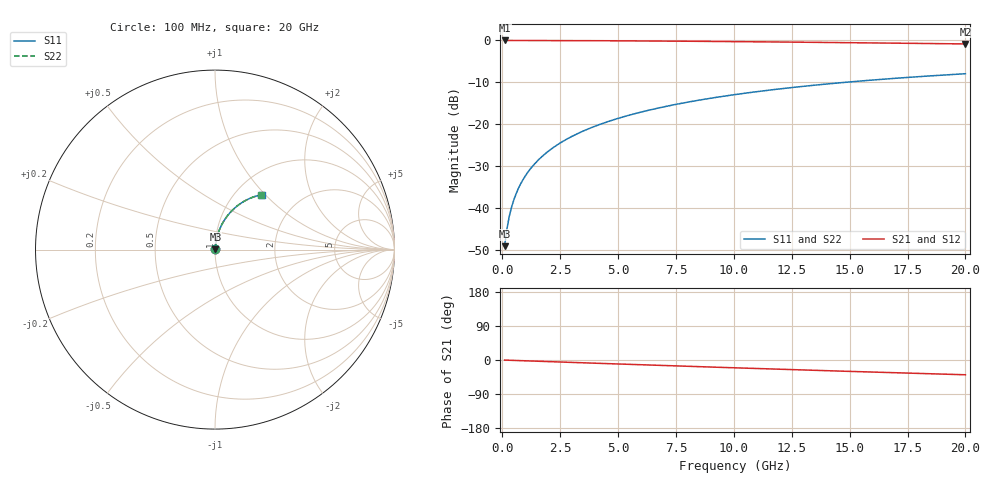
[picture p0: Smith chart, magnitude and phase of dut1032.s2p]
! Touchstone file exported from HFSS 2026.1.0
!  File:  C:/ffzhzh/LocalFiles/Ansys_Project_Files/temp_train_BSMRDL_1032_1783173624_22436.aedt
!  Generated:  10:01:36 PM Jul  4, 2026
!  Design:  BSMRDL
!  Project:  temp_train_BSMRDL_1032_1783173624_22436
! Variables:
!  h_bsmrdl = 4.11um
!  h_ox = 20um
!  h_rdl = 5um
!  h_sub = 80um
!  h_tmrdl = 5um
!  h_tsv = 80um
!  h_via = 3um
!  l_bsmrdl = 528.88um
!  l_sub = 928.88um
!  l_tmrdl = 200um
!  m_sub = 200um
!  pitch = 54.19um
!  r_tsv = 6um
!  s_tmrdl = 10um
!  w_bsmrdl = 19.93um
!  w_sub = 500um
!  w_tmrdl = 12um
!  x_tsv_center1 = 206um
!  x_tsv_center2 = 754.81um
!  x_tsv_center3 = 966.81um
!  x_tsv_center4 = 1515.62um
!  x_tsv_center5 = 1727.62um
!  x_tsv_center6 = 2276.43um
# GHz S MA R 50.000000
! Terminal data exported
! Port[1] = BSM_RDL1_1_T1
! Port[2] = BSM_RDL1_1_T2
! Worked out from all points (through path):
!   200 points, 100 MHz to 20 GHz, reference 50 ohm
!   highest |S21| = -0.02 dB at 100 MHz (marker M1); lowest = -0.8 dB at 20 GHz (marker M2)
!   group delay of S21, straight-line fit = 5.42 ps
!   lowest |S11| = -49.0 dB at 100 MHz (marker M3), VSWR 1.01, Z = 50.2 + j0.256 ohm
!   |S11| at or under -10 dB: start of sweep to 14.79 GHz
!   |S22| runs from -49.0 to -7.9 dB; largest |S21 - S12| = 6e-15
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0.1  0.003539 46.1  0.9976 -0.2  0.9976 -0.2  0.003539 46.1
! Gamma 0 0 0 0
! Port Impedance 50 0 50 0
0.2  0.005673 63.0  0.9974 -0.4  0.9974 -0.4  0.005673 63.0
0.3  0.007978 69.9  0.9973 -0.7  0.9973 -0.7  0.007978 69.9
0.4  0.01031 73.7  0.9972 -0.9  0.9972 -0.9  0.01031 73.7
0.5  0.01265 76.0  0.9971 -1.1  0.9971 -1.1  0.01265 76.0
0.7  0.01734 78.7  0.9969 -1.5  0.9969 -1.5  0.01734 78.7
0.8  0.0197 79.6  0.9969 -1.7  0.9969 -1.7  0.0197 79.6
1  0.02442 80.7  0.9967 -2.1  0.9967 -2.1  0.02442 80.7
1.2  0.02916 81.3  0.9965 -2.6  0.9965 -2.6  0.02916 81.3
1.4  0.0339 81.6  0.9963 -3.0  0.9963 -3.0  0.0339 81.6
1.7  0.04101 81.8  0.9959 -3.6  0.9959 -3.6  0.04101 81.8
2  0.04812 81.7  0.9955 -4.3  0.9955 -4.3  0.04812 81.7
2.7  0.06463 81.0  0.9942 -5.7  0.9942 -5.7  0.06463 81.0
3.5  0.08332 79.7  0.9924 -7.4  0.9924 -7.4  0.08332 79.8
4.2  0.09948 78.5  0.9905 -8.9  0.9905 -8.9  0.09948 78.5
5  0.1177 77.1  0.9881 -10.5  0.9881 -10.5  0.1177 77.1
6.8  0.1577 73.6  0.9815 -14.2  0.9815 -14.2  0.1577 73.7
8.3  0.1899 70.8  0.9751 -17.2  0.9751 -17.2  0.1899 70.8
10.1  0.2271 67.4  0.9665 -20.8  0.9665 -20.8  0.2271 67.4
13.4  0.291 61.2  0.9483 -27.1  0.9483 -27.1  0.291 61.3
16.7  0.3489 55.3  0.9281 -33.2  0.9281 -33.2  0.3489 55.4
20  0.4004 49.7  0.9069 -39.0  0.9069 -39.0  0.4004 49.7
